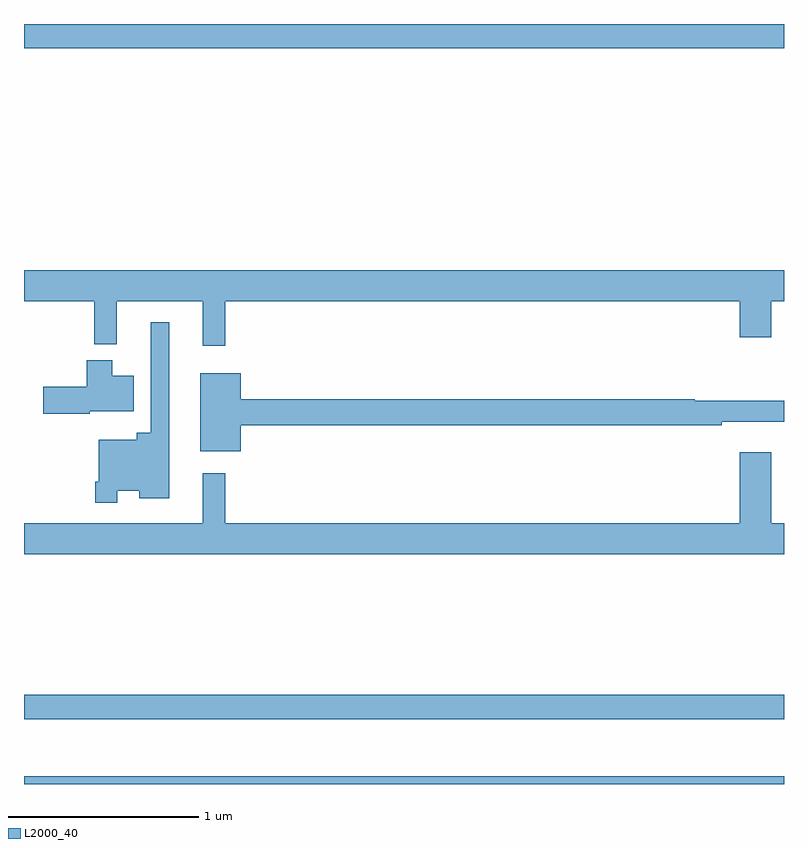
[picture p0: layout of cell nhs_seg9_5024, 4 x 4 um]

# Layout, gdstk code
import gdstk
lib = gdstk.Library(unit=1e-6, precision=1e-09)
def R(c, l, rs):  # rectangles x0, y0, x1, y1
    for r in rs: c.add(gdstk.rectangle(r[:2], r[2:], *l))
def P(c, l, *ps):  # polygons
    for p in ps: c.add(gdstk.Polygon(p, *l))
L2000_40 = (2000, 40)

nhs_seg9_5024 = lib.new_cell('nhs_seg9_5024')
R(nhs_seg9_5024, L2000_40, [(401,1240.5,405,1240.54), (401,1240.842,405,1240.97), (401,1244.372,405,1244.5)])
P(nhs_seg9_5024, L2000_40, [(402.059,1243.04),(404.768,1243.04),(404.768,1242.852),(404.932,1242.852),(404.932,1243.04),(405,1243.04),(405,1243.204),(401,1243.204),(401,1243.04),(401.371,1243.04),(401.371,1242.815),(401.489,1242.815),(401.489,1243.04),(401.942,1243.04),(401.942,1242.807),(402.059,1242.807)],
  [(401.49,1242.044),(401.606,1242.044),(401.606,1242.005),(401.764,1242.005),(401.764,1242.931),(401.667,1242.931),(401.667,1242.349),(401.594,1242.349),(401.594,1242.313),(401.394,1242.313),(401.394,1242.091),(401.374,1242.091),(401.374,1241.979),(401.49,1241.979)],
  [(401.346,1242.461),(401.578,1242.461),(401.578,1242.649),(401.464,1242.649),(401.464,1242.73),(401.33,1242.73),(401.33,1242.591),(401.1,1242.591),(401.1,1242.449),(401.346,1242.449)],
  [(402.142,1242.388),(404.672,1242.388),(404.672,1242.407),(405,1242.407),(405,1242.517),(404.53,1242.517),(404.53,1242.524),(402.142,1242.524),(402.142,1242.661),(401.927,1242.661),(401.927,1242.251),(402.142,1242.251)],
  [(405,1241.872),(404.932,1241.872),(404.932,1242.247),(404.768,1242.247),(404.768,1241.872),(402.059,1241.872),(402.059,1242.136),(401.942,1242.136),(401.942,1241.872),(401,1241.872),(401,1241.708),(405,1241.708)])

lib.write_gds('nhs_seg9_5024.gds')
